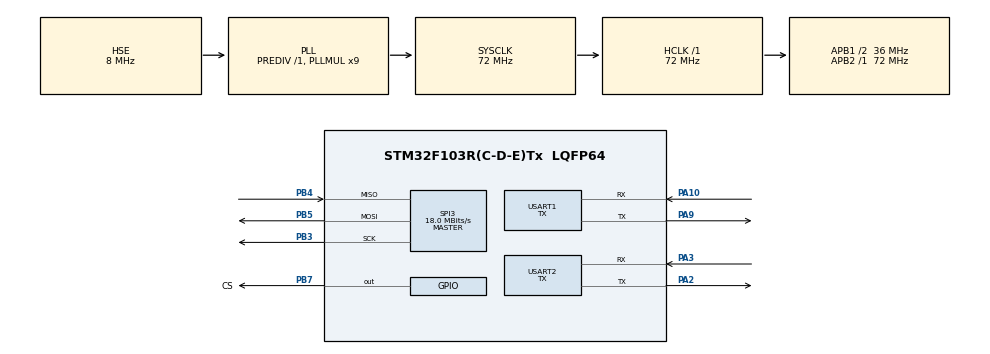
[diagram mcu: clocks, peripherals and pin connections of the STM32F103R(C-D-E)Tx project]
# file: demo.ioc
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FATFS._MAX_SS=4096
FATFS._MIN_SS=4096
FATFS._MULTI_PARTITION=0
FATFS._VOLUMES=2
Mcu.Family=STM32F1
Mcu.Name=STM32F103R(C-D-E)Tx
Mcu.Package=LQFP64
NVIC.PriorityGroup=NVIC_PRIORITYGROUP_4
NVIC.USART1_IRQn=true\:0\:0\:false\:false\:true\:true\:true
PA10.Mode=Asynchronous
PA10.Signal=USART1_RX
PA13.Mode=Serial_Wire
PA13.Signal=SYS_JTMS-SWDIO
PA14.Mode=Serial_Wire
PA14.Signal=SYS_JTCK-SWCLK
PA2.Mode=Asynchronous
PA2.Signal=USART2_TX
PA3.Mode=Asynchronous
PA3.Signal=USART2_RX
PA9.Mode=Asynchronous
PA9.Signal=USART1_TX
PB3.Mode=Full_Duplex_Master
PB3.Signal=SPI3_SCK
PB4.Mode=Full_Duplex_Master
PB4.Signal=SPI3_MISO
PB5.Mode=Full_Duplex_Master
PB5.Signal=SPI3_MOSI
PB7.GPIO_Label=CS
PB7.Signal=GPIO_Output
PD0-OSC_IN.Mode=HSE-External-Oscillator
PD0-OSC_IN.Signal=RCC_OSC_IN
PD1-OSC_OUT.Mode=HSE-External-Oscillator
PD1-OSC_OUT.Signal=RCC_OSC_OUT
ProjectManager.HeapSize=0x800
ProjectManager.StackSize=0x800
ProjectManager.TargetToolchain=MDK-ARM V5
RCC.AHBFreq_Value=72000000
RCC.APB1CLKDivider=RCC_HCLK_DIV2
RCC.APB1Freq_Value=36000000
RCC.APB1TimFreq_Value=72000000
RCC.APB2Freq_Value=72000000
RCC.APB2TimFreq_Value=72000000
RCC.HCLKFreq_Value=72000000
RCC.PLLMUL=RCC_PLL_MUL9
RCC.PLLSourceVirtual=RCC_PLLSOURCE_HSE
RCC.SYSCLKFreq_VALUE=72000000
RCC.SYSCLKSource=RCC_SYSCLKSOURCE_PLLCLK
RCC.USBFreq_Value=72000000
SPI3.BaudRatePrescaler=SPI_BAUDRATEPRESCALER_2
SPI3.CLKPhase=SPI_PHASE_2EDGE
SPI3.CLKPolarity=SPI_POLARITY_HIGH
SPI3.CalculateBaudRate=18.0 MBits/s
SPI3.Direction=SPI_DIRECTION_2LINES
SPI3.Mode=SPI_MODE_MASTER
SPI3.VirtualType=VM_MASTER
USART1.Mode=MODE_TX
USART1.VirtualMode=VM_ASYNC
USART2.Mode=MODE_TX
USART2.VirtualMode=VM_ASYNC
VP_FATFS_VS_Generic.Mode=User_defined
board=custom

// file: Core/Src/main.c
/* USER CODE BEGIN Header */
/**
 ******************************************************************************
 * @file           : main.c
 * @brief          : Main program body
 ******************************************************************************
 * @attention
 *
 * <h2><center>&copy; Copyright (c) 2022 STMicroelectronics.
 * All rights reserved.</center></h2>
 *
 * This software component is licensed by ST under BSD 3-Clause license,
 * the "License"; You may not use this file except in compliance with the
 * License. You may obtain a copy of the License at:
 *                        opensource.org/licenses/BSD-3-Clause
 *
 ******************************************************************************
 */
/* USER CODE END Header */
#include "main.h"
#include "fatfs.h"
#include "gpio.h"
#include "spi.h"
#include "usart.h"

/* USER CODE BEGIN Includes */
#include <stdlib.h>
#include <string.h>
/* USER CODE END Includes */

/* USER CODE BEGIN PV */
FATFS    fs;
FATFS*   pfs;
FIL      fil;
FRESULT  fres;
DWORD    fre_clust;
uint32_t totalSpace, freeSpace;
/* USER CODE END PV */

void SystemClock_Config(void);

/* USER CODE BEGIN 0 */

void FAFTS_Error_Handler(char* file, int line) {
    printf("%s:%d\r\n", file, line);
    while (1) {}
}

UINT work[4096];  // 工作缓冲区

char rx[100], tx[100] = {"hello uyk"};
UINT count;

/* USER CODE END 0 */

int main(void) {

    /* MCU Configuration--------------------------------------------------------*/

    /* Reset of all peripherals, Initializes the Flash interface and the Systick. */
    HAL_Init();

    /* Configure the system clock */
    SystemClock_Config();

    /* Initialize all configured peripherals */
    MX_GPIO_Init();
    MX_USART1_UART_Init();
    MX_USART2_UART_Init();
    MX_SPI3_Init();
    MX_FATFS_Init();
    /* USER CODE BEGIN 2 */

    // 挂载设备
    switch (f_mount(&fs, "", 1)) {
        case FR_OK: break;

        // 没有文件系统
        case FR_NO_FILESYSTEM: {
            // 格式化
            if (f_mkfs("", 0, work) != FR_OK)
                FAFTS_Error_Handler(__FILE__, __LINE__);
            // 重新挂载
            f_mount(NULL, "", 1);
            f_mount(&fs, "", 1);
            break;
        }

        default: {
            FAFTS_Error_Handler(__FILE__, __LINE__);
            break;
        }
    }

    // 获取容量

    if (f_getfree("", &fre_clust, &pfs) != FR_OK)  // 获取磁盘信息及空闲簇数量
        FAFTS_Error_Handler(__FILE__, __LINE__);

    // 扇区大小 4096k
    totalSpace = (uint32_t)((pfs->n_fatent - 2) * pfs->csize) * 4;  // 总扇区数
    freeSpace  = (uint32_t)(fre_clust * pfs->csize) * 4;            // 空闲扇区数

    printf("free space: %.2f MB\r\n", freeSpace / 1024.f);
    printf("total space: %.2f MB\r\n", totalSpace / 1024.f);

    // 读写文件

    if (f_open(&fil, "1:file.txt", FA_OPEN_ALWAYS | FA_WRITE | FA_READ) != FR_OK)  // 打开/创建文件
        FAFTS_Error_Handler(__FILE__, __LINE__);

    if (f_write(&fil, tx, sizeof(tx), &count) != FR_OK)  // 写
        FAFTS_Error_Handler(__FILE__, __LINE__);

    printf("count of buffer (write): %d\r\n", count);

    if (f_lseek(&fil, 0) != FR_OK)  // 设置光标位置
        FAFTS_Error_Handler(__FILE__, __LINE__);

    if (f_read(&fil, rx, f_size(&fil), &count) != FR_OK)  // 读
        FAFTS_Error_Handler(__FILE__, __LINE__);

    printf("count of buffer (read): %d\r\n", count);
    printf("%s", rx);

    if (f_close(&fil) != FR_OK)  // 关闭文件
        FAFTS_Error_Handler(__FILE__, __LINE__);

    /* USER CODE END 2 */

    /* Infinite loop */
    while (1) {

    }
}

void SystemClock_Config(void) {
    RCC_OscInitTypeDef RCC_OscInitStruct = {0};
    RCC_ClkInitTypeDef RCC_ClkInitStruct = {0};

    /** Initializes the RCC Oscillators according to the specified parameters
     * in the RCC_OscInitTypeDef structure.
     */
    RCC_OscInitStruct.OscillatorType = RCC_OSCILLATORTYPE_HSE;
    RCC_OscInitStruct.HSEState       = RCC_HSE_ON;
    RCC_OscInitStruct.HSEPredivValue = RCC_HSE_PREDIV_DIV1;
    RCC_OscInitStruct.HSIState       = RCC_HSI_ON;
    RCC_OscInitStruct.PLL.PLLState   = RCC_PLL_ON;
    RCC_OscInitStruct.PLL.PLLSource  = RCC_PLLSOURCE_HSE;
    RCC_OscInitStruct.PLL.PLLMUL     = RCC_PLL_MUL9;
    if (HAL_RCC_OscConfig(&RCC_OscInitStruct) != HAL_OK) {
        Error_Handler();
    }
    /** Initializes the CPU, AHB and APB buses clocks
     */
    RCC_ClkInitStruct.ClockType      = RCC_CLOCKTYPE_HCLK | RCC_CLOCKTYPE_SYSCLK | RCC_CLOCKTYPE_PCLK1 | RCC_CLOCKTYPE_PCLK2;
    RCC_ClkInitStruct.SYSCLKSource   = RCC_SYSCLKSOURCE_PLLCLK;
    RCC_ClkInitStruct.AHBCLKDivider  = RCC_SYSCLK_DIV1;
    RCC_ClkInitStruct.APB1CLKDivider = RCC_HCLK_DIV2;
    RCC_ClkInitStruct.APB2CLKDivider = RCC_HCLK_DIV1;

    if (HAL_RCC_ClockConfig(&RCC_ClkInitStruct, FLASH_LATENCY_2) != HAL_OK) {
        Error_Handler();
    }
}

void Error_Handler(void) {
}

/************************ (C) COPYRIGHT STMicroelectronics *****END OF FILE****/
